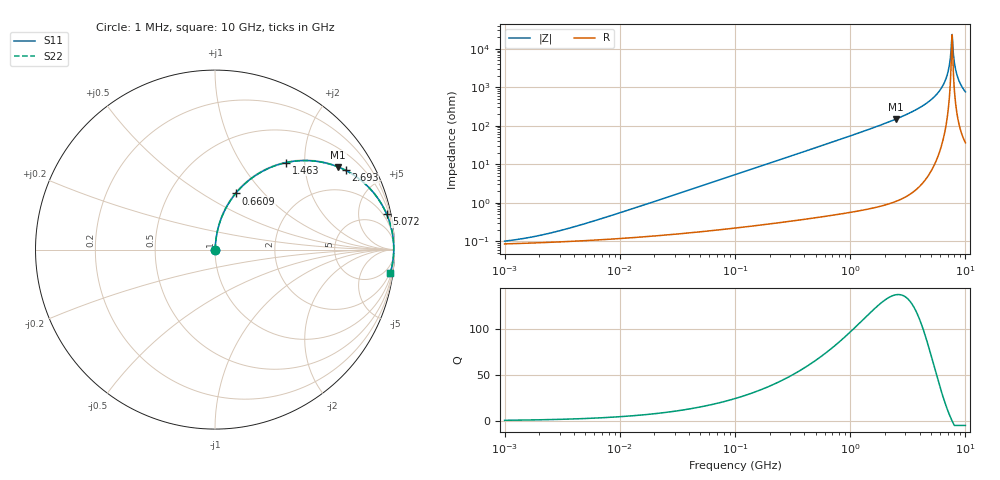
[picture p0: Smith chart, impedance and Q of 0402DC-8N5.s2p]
# MHz  S  MA  R  50
!Freq  MagS11  AngS11  MagS21  AngS21  MagS12  AngS12  MagS22  AngS22
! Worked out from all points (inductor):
!   801 points, 1 MHz to 10 GHz, reference 50 ohm
!   read as one part in series: L = 8.5 nH near 6.026 MHz
!   highest Q = 138 at 2.484 GHz (marker M1), where L = 9.5 nH
!   self-resonance near 7.589 GHz
!   S11 on the Smith chart (normalised r, x): 1 MHz: 1.00, +0.00; 660.9 MHz: 1.01, +0.71; 1.463 GHz: 1.01, +1.62; 2.693 GHz: 1.02, +3.28; 5.072 GHz: 1.14, +9.64; 10 GHz: 2, -15
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1  0.001002 32.1  0.9992 -0.0  0.9992 -0.0  0.001002 32.1
4.67769  0.002697 67.6  0.999 -0.1  0.999 -0.1  0.002697 67.6
21.6303  0.01162 82.5  0.9985 -0.7  0.9985 -0.7  0.01162 82.5
100.0216  0.05328 84.6  0.9964 -3.1  0.9964 -3.1  0.05328 84.6
467.8699  0.2424 75.1  0.9664 -14.0  0.9664 -14.0  0.2424 75.1
660.8945  0.3337 69.8  0.9384 -19.5  0.9384 -19.5  0.3337 69.8
1462.677  0.6272 50.7  0.7736 -38.8  0.7736 -38.8  0.6272 50.7
2163.497  0.7794 38.4  0.6208 -51.2  0.6208 -51.2  0.7794 38.4
2484.043  0.8263 33.9  0.5573 -55.7  0.5573 -55.7  0.8263 33.9
2692.531  0.8511 31.3  0.5188 -58.3  0.5188 -58.3  0.8511 31.3
3847.406  0.9371 19.9  0.3411 -69.6  0.3411 -69.6  0.9371 19.9
5071.934  0.9764 11.7  0.2025 -77.5  0.2025 -77.5  0.9764 11.7
5959.048  0.9893 7.1  0.1229 -81.5  0.1229 -81.5  0.9893 7.1
6609.658  0.9939 4.1  0.07215 -83.1  0.07215 -83.1  0.9939 4.1
7082.399  0.9955 2.2  0.03854 -82.2  0.03854 -82.2  0.9955 2.2
7416.199  0.9959 0.9  0.01641 -75.1  0.01641 -75.1  0.9959 0.9
7676.832  0.9959 -0.1  0.004237 12.1  0.004237 12.1  0.9959 -0.1
7946.626  0.9955 -1.0  0.01822 75.2  0.01822 75.2  0.9955 -1.0
8225.901  0.9948 -2.0  0.03479 80.5  0.03479 80.5  0.9948 -2.0
8613.594  0.9935 -3.3  0.05711 81.8  0.05711 81.8  0.9935 -3.3
9229.662  0.9905 -5.2  0.09071 81.4  0.09071 81.4  0.9905 -5.2
10000  0.9854 -7.5  0.1298 79.8  0.1298 79.8  0.9854 -7.5
